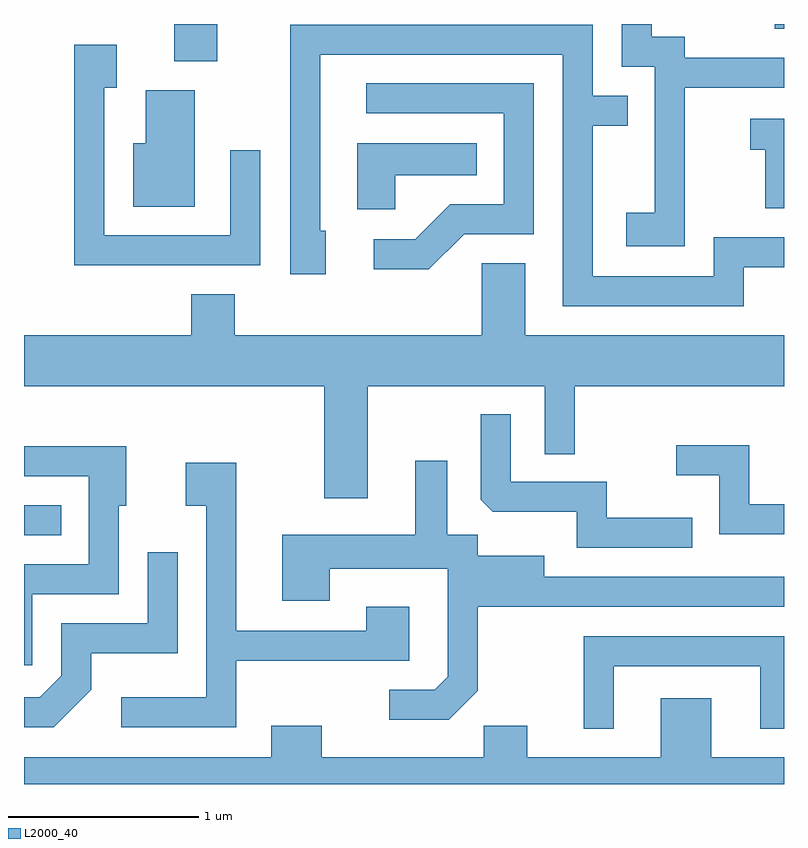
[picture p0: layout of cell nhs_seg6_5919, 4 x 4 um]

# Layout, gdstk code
import gdstk
lib = gdstk.Library(unit=1e-6, precision=1e-09)
def R(c, l, rs):  # rectangles x0, y0, x1, y1
    for r in rs: c.add(gdstk.rectangle(r[:2], r[2:], *l))
def P(c, l, *ps):  # polygons
    for p in ps: c.add(gdstk.Polygon(p, *l))
L2000_40 = (2000, 40)

nhs_seg6_5919 = lib.new_cell('nhs_seg6_5919')
R(nhs_seg6_5919, L2000_40, [(365.611,1551.471,365.808,1551.629), (366.401,1553.966,366.629,1554.162), (369.561,1554.136,369.611,1554.162)])
P(nhs_seg6_5919, L2000_40, [(369.089,1553.826),(369.611,1553.826),(369.611,1553.984),(369.089,1553.984),(369.089,1554.094),(368.914,1554.094),(368.914,1554.162),(368.756,1554.162),(368.756,1553.936),(368.931,1553.936),(368.931,1553.169),(368.781,1553.169),(368.781,1552.991),(369.089,1552.991)],
  [(369.399,1552.881),(369.611,1552.881),(369.611,1553.039),(369.241,1553.039),(369.241,1552.834),(368.604,1552.834),(368.604,1553.626),(368.788,1553.626),(368.788,1553.784),(368.604,1553.784),(368.604,1554.159),(367.011,1554.159),(367.011,1552.846),(367.199,1552.846),(367.199,1553.074),(367.169,1553.074),(367.169,1554.001),(368.446,1554.001),(368.446,1552.676),(369.399,1552.676)],
  [(366.854,1553.498),(366.696,1553.498),(366.696,1553.049),(366.034,1553.049),(366.034,1553.826),(366.099,1553.826),(366.099,1554.054),(365.876,1554.054),(365.876,1552.891),(366.854,1552.891)],
  [(367.927,1553.056),(368.294,1553.056),(368.294,1553.849),(367.413,1553.849),(367.413,1553.691),(368.136,1553.691),(368.136,1553.214),(367.854,1553.214),(367.669,1553.029),(367.453,1553.029),(367.453,1552.871),(367.742,1552.871)],
  [(366.509,1553.814),(366.251,1553.814),(366.251,1553.534),(366.186,1553.534),(366.186,1553.201),(366.509,1553.201)],
  [(369.611,1553.664),(369.433,1553.664),(369.433,1553.501),(369.511,1553.501),(369.511,1553.191),(369.611,1553.191)],
  [(367.564,1553.366),(367.993,1553.366),(367.993,1553.534),(367.366,1553.534),(367.366,1553.186),(367.564,1553.186)],
  [(367.419,1552.256),(368.351,1552.256),(368.351,1551.898),(368.509,1551.898),(368.509,1552.256),(369.611,1552.256),(369.611,1552.524),(368.249,1552.524),(368.249,1552.904),(368.021,1552.904),(368.021,1552.524),(366.719,1552.524),(366.719,1552.739),(366.491,1552.739),(366.491,1552.524),(365.611,1552.524),(365.611,1552.256),(367.191,1552.256),(367.191,1551.666),(367.419,1551.666)],
  [(369.128,1551.564),(368.679,1551.564),(368.679,1551.754),(368.174,1551.754),(368.174,1552.108),(368.016,1552.108),(368.016,1551.657),(368.077,1551.596),(368.521,1551.596),(368.521,1551.406),(369.128,1551.406)],
  [(369.611,1551.634),(369.429,1551.634),(369.429,1551.944),(369.043,1551.944),(369.043,1551.786),(369.271,1551.786),(369.271,1551.476),(369.611,1551.476)],
  [(365.654,1551.161),(366.109,1551.161),(366.109,1551.626),(366.149,1551.626),(366.149,1551.939),(365.611,1551.939),(365.611,1551.781),(365.951,1551.781),(365.951,1551.319),(365.611,1551.319),(365.611,1550.788),(365.654,1550.788)],
  [(367.999,1550.654),(367.999,1551.096),(369.611,1551.096),(369.611,1551.254),(368.349,1551.254),(368.349,1551.364),(367.999,1551.364),(367.999,1551.474),(367.839,1551.474),(367.839,1551.863),(367.671,1551.863),(367.671,1551.474),(366.971,1551.474),(366.971,1551.126),(367.219,1551.126),(367.219,1551.296),(367.841,1551.296),(367.841,1550.727),(367.774,1550.659),(367.533,1550.659),(367.533,1550.501),(367.847,1550.501)],
  [(366.729,1550.811),(367.639,1550.811),(367.639,1551.094),(367.411,1551.094),(367.411,1550.969),(366.729,1550.969),(366.729,1551.854),(366.461,1551.854),(366.461,1551.626),(366.571,1551.626),(366.571,1550.619),(366.123,1550.619),(366.123,1550.461),(366.729,1550.461)],
  [(365.964,1550.659),(365.964,1550.851),(366.419,1550.851),(366.419,1551.383),(366.261,1551.383),(366.261,1551.009),(365.806,1551.009),(365.806,1550.732),(365.694,1550.619),(365.611,1550.619),(365.611,1550.461),(365.767,1550.461)],
  [(368.714,1550.781),(369.486,1550.781),(369.486,1550.453),(369.611,1550.453),(369.611,1550.939),(368.556,1550.939),(368.556,1550.453),(368.714,1550.453)],
  [(369.611,1550.304),(369.229,1550.304),(369.229,1550.614),(368.961,1550.614),(368.961,1550.304),(368.259,1550.304),(368.259,1550.469),(368.031,1550.469),(368.031,1550.304),(367.179,1550.304),(367.179,1550.469),(366.911,1550.469),(366.911,1550.304),(365.611,1550.304),(365.611,1550.162),(369.611,1550.162)])

lib.write_gds('nhs_seg6_5919.gds')
